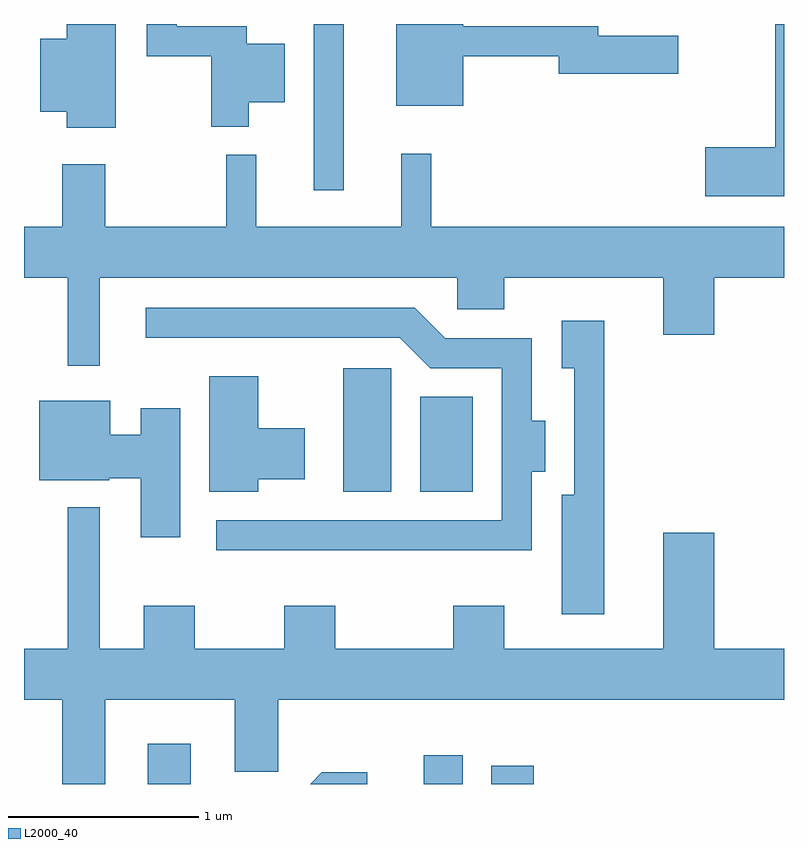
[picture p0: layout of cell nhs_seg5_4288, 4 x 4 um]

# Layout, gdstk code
import gdstk
lib = gdstk.Library(unit=1e-6, precision=1e-09)
def R(c, l, rs):  # rectangles x0, y0, x1, y1
    for r in rs: c.add(gdstk.rectangle(r[:2], r[2:], *l))
def P(c, l, *ps):  # polygons
    for p in ps: c.add(gdstk.Polygon(p, *l))
L2000_40 = (2000, 40)

nhs_seg5_4288 = lib.new_cell('nhs_seg5_4288')
R(nhs_seg5_4288, L2000_40, [(312.261,1514.072,312.489,1514.284), (313.716,1514.072,313.919,1514.224), (314.071,1514.072,314.294,1514.169), (313.291,1515.611,313.544,1516.259), (313.696,1515.611,313.974,1516.109), (313.136,1517.198,313.294,1518.072)])
P(nhs_seg5_4288, L2000_40, [(315.611,1518.072),(315.566,1518.072),(315.566,1517.424),(315.196,1517.424),(315.196,1517.166),(315.611,1517.166)],
  [(312.094,1518.072),(311.836,1518.072),(311.836,1517.994),(311.696,1517.994),(311.696,1517.611),(311.836,1517.611),(311.836,1517.526),(312.094,1517.526)],
  [(313.924,1517.901),(314.426,1517.901),(314.426,1517.811),(315.054,1517.811),(315.054,1518.009),(314.634,1518.009),(314.634,1518.059),(313.924,1518.059),(313.924,1518.072),(313.571,1518.072),(313.571,1517.641),(313.924,1517.641)],
  [(312.794,1517.661),(312.984,1517.661),(312.984,1517.969),(312.784,1517.969),(312.784,1518.059),(312.414,1518.059),(312.414,1518.072),(312.256,1518.072),(312.256,1517.901),(312.596,1517.901),(312.596,1517.531),(312.794,1517.531)],
  [(312.009,1516.736),(313.891,1516.736),(313.891,1516.571),(314.139,1516.571),(314.139,1516.736),(314.976,1516.736),(314.976,1516.436),(315.244,1516.436),(315.244,1516.736),(315.611,1516.736),(315.611,1517.004),(313.754,1517.004),(313.754,1517.388),(313.596,1517.388),(313.596,1517.004),(312.834,1517.004),(312.834,1517.383),(312.676,1517.383),(312.676,1517.004),(312.039,1517.004),(312.039,1517.334),(311.811,1517.334),(311.811,1517.004),(311.611,1517.004),(311.611,1516.736),(311.841,1516.736),(311.841,1516.273),(312.009,1516.273)],
  [(314.284,1515.716),(314.354,1515.716),(314.354,1515.984),(314.284,1515.984),(314.284,1516.419),(313.827,1516.419),(313.667,1516.579),(312.253,1516.579),(312.253,1516.421),(313.589,1516.421),(313.749,1516.261),(314.126,1516.261),(314.126,1515.459),(312.623,1515.459),(312.623,1515.301),(314.284,1515.301)],
  [(314.664,1516.509),(314.441,1516.509),(314.441,1516.261),(314.506,1516.261),(314.506,1515.594),(314.441,1515.594),(314.441,1514.966),(314.664,1514.966)],
  [(312.844,1515.676),(313.089,1515.676),(313.089,1515.944),(312.844,1515.944),(312.844,1516.219),(312.586,1516.219),(312.586,1515.611),(312.844,1515.611)],
  [(312.434,1516.049),(312.226,1516.049),(312.226,1515.909),(312.064,1515.909),(312.064,1516.089),(311.691,1516.089),(311.691,1515.671),(312.06,1515.671),(312.06,1515.681),(312.226,1515.681),(312.226,1515.371),(312.434,1515.371)],
  [(312.721,1514.136),(312.949,1514.136),(312.949,1514.516),(315.611,1514.516),(315.611,1514.784),(315.244,1514.784),(315.244,1515.394),(314.976,1515.394),(314.976,1514.784),(314.139,1514.784),(314.139,1515.009),(313.871,1515.009),(313.871,1514.784),(313.249,1514.784),(313.249,1515.009),(312.981,1515.009),(312.981,1514.784),(312.509,1514.784),(312.509,1515.009),(312.241,1515.009),(312.241,1514.784),(312.009,1514.784),(312.009,1515.528),(311.841,1515.528),(311.841,1514.784),(311.611,1514.784),(311.611,1514.516),(311.811,1514.516),(311.811,1514.072),(312.039,1514.072),(312.039,1514.516),(312.721,1514.516)],
  [(313.418,1514.134),(313.179,1514.134),(313.117,1514.072),(313.418,1514.072)])

lib.write_gds('nhs_seg5_4288.gds')
